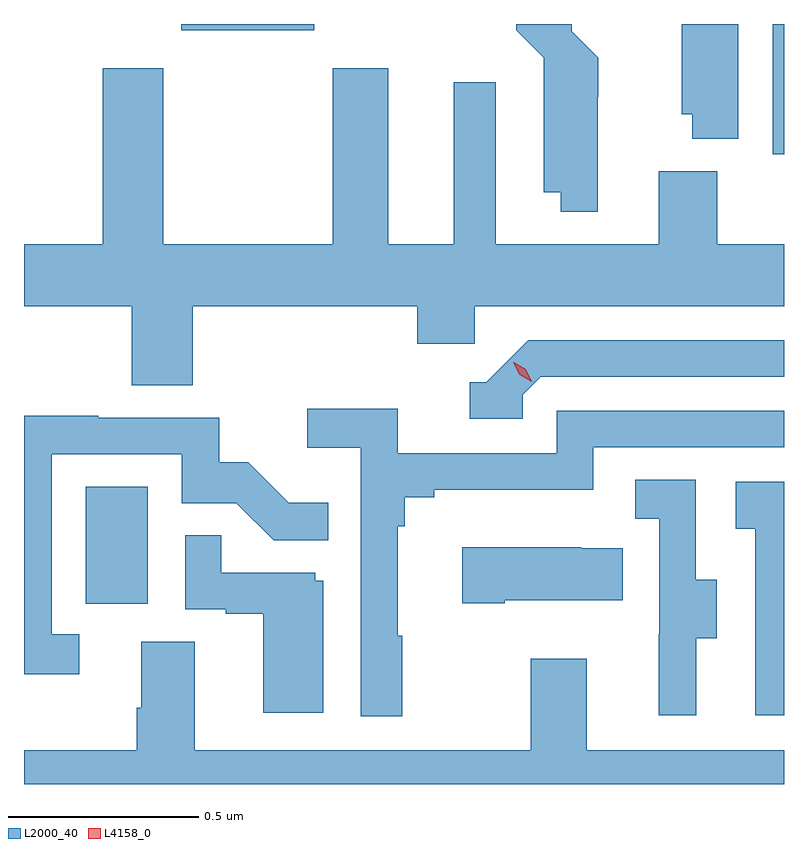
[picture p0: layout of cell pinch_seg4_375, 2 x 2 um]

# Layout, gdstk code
import gdstk
lib = gdstk.Library(unit=1e-6, precision=1e-09)
def R(c, l, rs):  # rectangles x0, y0, x1, y1
    for r in rs: c.add(gdstk.rectangle(r[:2], r[2:], *l))
def P(c, l, *ps):  # polygons
    for p in ps: c.add(gdstk.Polygon(p, *l))
L2000_40 = (2000, 40)
L4158_0 = (4158, 0)

pinch_seg4_375 = lib.new_cell('pinch_seg4_375')
R(pinch_seg4_375, L2000_40, [(973.178,801.366,973.342,801.673), (974.987,802.548,975.016,802.891), (973.43,802.874,973.78,802.891)])
P(pinch_seg4_375, L2000_40, [(974.896,802.891),(974.747,802.891),(974.747,802.653),(974.774,802.653),(974.774,802.589),(974.896,802.589)],
  [(974.526,802.7),(974.527,802.7),(974.527,802.802),(974.457,802.872),(974.457,802.891),(974.312,802.891),(974.312,802.874),(974.384,802.802),(974.384,802.448),(974.429,802.448),(974.429,802.397),(974.526,802.397)],
  [(973.46,802.148),(974.051,802.148),(974.051,802.05),(974.202,802.05),(974.202,802.148),(975.016,802.148),(975.016,802.312),(974.84,802.312),(974.84,802.504),(974.687,802.504),(974.687,802.312),(974.257,802.312),(974.257,802.738),(974.147,802.738),(974.147,802.312),(973.975,802.312),(973.975,802.774),(973.828,802.774),(973.828,802.312),(973.383,802.312),(973.383,802.774),(973.223,802.774),(973.223,802.312),(973.016,802.312),(973.016,802.148),(973.3,802.148),(973.3,801.94),(973.46,801.94)],
  [(974.328,801.915),(974.376,801.963),(975.016,801.963),(975.016,802.059),(974.343,802.059),(974.232,801.948),(974.189,801.948),(974.189,801.852),(974.328,801.852)],
  [(974.011,801.281),(973.999,801.281),(973.999,801.569),(974.018,801.569),(974.018,801.646),(974.095,801.646),(974.095,801.665),(974.514,801.665),(974.514,801.777),(975.016,801.777),(975.016,801.873),(974.418,801.873),(974.418,801.762),(974,801.762),(974,801.878),(973.761,801.878),(973.761,801.776),(973.902,801.776),(973.902,801.069),(974.011,801.069)],
  [(973.162,801.285),(973.089,801.285),(973.089,801.759),(973.431,801.759),(973.431,801.63),(973.575,801.63),(973.673,801.532),(973.817,801.532),(973.817,801.631),(973.713,801.631),(973.606,801.738),(973.53,801.738),(973.53,801.855),(973.211,801.855),(973.211,801.86),(973.016,801.86),(973.016,801.18),(973.162,801.18)],
  [(974.785,801.274),(974.839,801.274),(974.839,801.429),(974.784,801.429),(974.784,801.692),(974.625,801.692),(974.625,801.589),(974.688,801.589),(974.688,801.285),(974.687,801.285),(974.687,801.072),(974.785,801.072)],
  [(975.016,801.687),(974.889,801.687),(974.889,801.563),(974.94,801.563),(974.94,801.072),(975.016,801.072)],
  [(973.804,801.426),(973.782,801.426),(973.782,801.447),(973.535,801.447),(973.535,801.545),(973.44,801.545),(973.44,801.351),(973.547,801.351),(973.547,801.339),(973.646,801.339),(973.646,801.078),(973.804,801.078)],
  [(974.281,801.374),(974.591,801.374),(974.591,801.511),(974.483,801.511),(974.483,801.514),(974.169,801.514),(974.169,801.367),(974.281,801.367)],
  [(975.016,800.98),(974.497,800.98),(974.497,801.22),(974.35,801.22),(974.35,800.98),(973.465,800.98),(973.465,801.266),(973.325,801.266),(973.325,801.092),(973.313,801.092),(973.313,800.98),(973.016,800.98),(973.016,800.891),(975.016,800.891)])
P(pinch_seg4_375, L4158_0, [(974.352,801.949),(974.321,801.968),(974.304,802.001),(974.304,802.001),(974.305,802.001),(974.336,801.982),(974.352,801.95),(974.352,801.949)])

lib.write_gds('pinch_seg4_375.gds')
